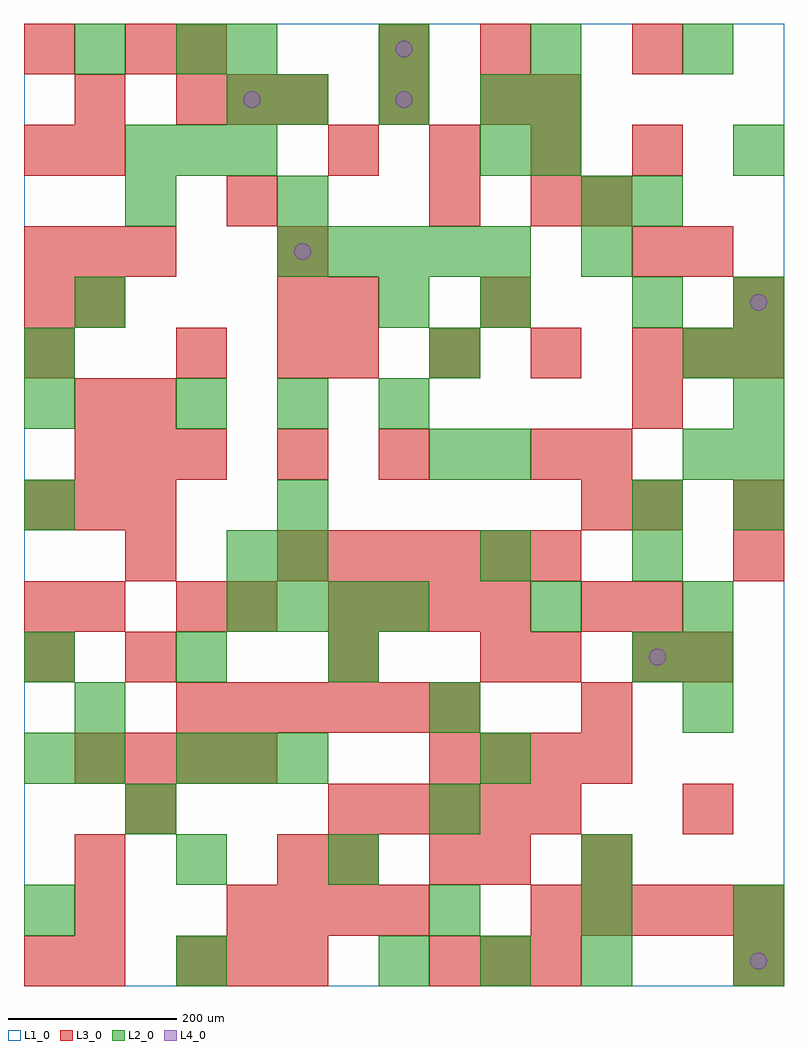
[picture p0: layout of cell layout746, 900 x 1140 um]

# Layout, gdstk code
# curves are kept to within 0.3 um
import gdstk
lib = gdstk.Library(unit=1e-6, precision=1e-09)
def R(c, l, rs):  # rectangles x0, y0, x1, y1
    for r in rs: c.add(gdstk.rectangle(r[:2], r[2:], *l))
def A(c, l, x, y, w, h, nx, ny, dx, dy):  # array of equal rectangles
    R(c, l, [(x+i*dx, y+j*dy, x+i*dx+w, y+j*dy+h) for i in range(nx) for j in range(ny)])
def P(c, l, *ps):  # polygons
    for p in ps: c.add(gdstk.Polygon(p, *l))
L1_0 = (1, 0)
L2_0 = (2, 0)
L3_0 = (3, 0)
L4_0 = (4, 0)

layout746 = lib.new_cell('layout746')
R(layout746, L1_0, [(0,0,900,1140)])
A(layout746, L2_0, 420, 0, 60, 60, 3, 1, 120, 0)
A(layout746, L2_0, 480, 60, 60, 60, 3, 1, 180, 0)
A(layout746, L2_0, 180, 240, 60, 60, 3, 1, 60, 0)
A(layout746, L2_0, 780, 300, 60, 60, 1, 3, 0, 60)
A(layout746, L2_0, 0, 360, 60, 60, 3, 1, 180, 0)
A(layout746, L2_0, 240, 420, 60, 60, 4, 1, 60, 0)
A(layout746, L2_0, 840, 540, 60, 60, 1, 5, 0, 60)
A(layout746, L2_0, 540, 600, 60, 60, 1, 3, 0, 180)
A(layout746, L2_0, 180, 660, 60, 60, 3, 1, 120, 0)
A(layout746, L2_0, 300, 840, 60, 60, 5, 1, 60, 0)
A(layout746, L2_0, 120, 960, 60, 60, 3, 1, 60, 0)
A(layout746, L2_0, 300, 1020, 60, 60, 3, 1, 120, 0)
A(layout746, L2_0, 240, 1080, 60, 60, 4, 1, 180, 0)
R(layout746, L2_0, [(180,0,240,60), (840,0,900,60), (0,60,60,120), (180,120,240,180), (360,120,420,180), (660,120,720,180), (120,180,180,240), (480,180,540,240), (0,240,60,300), (60,240,120,300), (540,240,600,300), (60,300,120,360), (480,300,540,360), (720,360,780,420), (600,420,660,480), (240,480,300,540), (300,480,360,540), (540,480,600,540), (720,480,780,540), (0,540,60,600), (300,540,360,600), (720,540,780,600), (480,600,540,660), (780,600,840,660), (0,660,60,720), (0,720,60,780), (480,720,540,780), (780,720,840,780), (60,780,120,840), (420,780,480,840), (720,780,780,840), (660,840,720,900), (120,900,180,960), (300,900,360,960), (660,900,720,960), (720,900,780,960), (600,960,660,1020), (840,960,900,1020), (240,1020,300,1080), (600,1020,660,1080), (60,1080,120,1140), (180,1080,240,1140)])
A(layout746, L3_0, 60, 0, 60, 60, 1, 3, 0, 60)
A(layout746, L3_0, 180, 0, 60, 60, 3, 2, 60, 1020)
A(layout746, L3_0, 480, 0, 60, 60, 3, 1, 60, 0)
A(layout746, L3_0, 240, 60, 60, 60, 4, 1, 60, 0)
A(layout746, L3_0, 600, 60, 60, 60, 5, 1, 60, 0)
A(layout746, L3_0, 360, 180, 60, 60, 5, 1, 60, 0)
A(layout746, L3_0, 60, 240, 60, 60, 4, 1, 60, 0)
A(layout746, L3_0, 480, 240, 60, 60, 4, 1, 60, 0)
A(layout746, L3_0, 180, 300, 60, 60, 6, 1, 60, 0)
A(layout746, L3_0, 660, 300, 60, 60, 1, 3, 0, 120)
A(layout746, L3_0, 360, 420, 60, 60, 4, 1, 60, 0)
A(layout746, L3_0, 720, 420, 60, 60, 1, 3, 0, 120)
A(layout746, L3_0, 300, 480, 60, 60, 6, 1, 60, 0)
A(layout746, L3_0, 0, 540, 60, 60, 3, 2, 60, 300)
A(layout746, L3_0, 60, 600, 60, 60, 3, 1, 60, 0)
A(layout746, L3_0, 300, 720, 60, 60, 1, 3, 0, 60)
A(layout746, L3_0, 360, 720, 60, 60, 4, 2, 120, 240)
R(layout746, L3_0, [(0,0,60,60), (840,0,900,60), (300,120,360,180), (360,120,420,180), (480,120,540,180), (540,120,600,180), (660,120,720,180), (120,180,180,240), (780,180,840,240), (0,360,60,420), (120,360,180,420), (360,360,420,420), (540,360,600,420), (600,360,660,420), (720,360,780,420), (780,360,840,420), (0,420,60,480), (60,420,120,480), (180,420,240,480), (240,420,300,480), (120,480,180,540), (840,480,900,540), (840,540,900,600), (300,600,360,660), (420,600,480,660), (600,600,660,660), (660,600,720,660), (60,660,120,720), (120,660,180,720), (0,720,60,780), (180,720,240,780), (780,720,840,780), (840,720,900,780), (0,780,60,840), (60,780,120,840), (360,780,420,840), (540,780,600,840), (840,780,900,840), (720,840,780,900), (780,840,840,900), (240,900,300,960), (480,900,540,960), (600,900,660,960), (660,900,720,960), (0,960,60,1020), (60,960,120,1020), (60,1020,120,1080), (420,1020,480,1080), (540,1020,600,1080), (600,1020,660,1080), (0,1080,60,1140), (120,1080,180,1140), (180,1080,240,1140), (420,1080,480,1140), (540,1080,600,1140), (720,1080,780,1140)])
P(layout746, L4_0, [(280,1050),(279.239,1053.827),(277.071,1057.071),(273.827,1059.239),(270,1060),(266.173,1059.239),(262.929,1057.071),(260.761,1053.827),(260,1050),(260.761,1046.173),(262.929,1042.929),(266.173,1040.761),(270,1040),(273.827,1040.761),(277.071,1042.929),(279.239,1046.173)],
  [(340,870),(339.239,873.827),(337.071,877.071),(333.827,879.239),(330,880),(326.173,879.239),(322.929,877.071),(320.761,873.827),(320,870),(320.761,866.173),(322.929,862.929),(326.173,860.761),(330,860),(333.827,860.761),(337.071,862.929),(339.239,866.173)],
  [(460,1050),(459.239,1053.827),(457.071,1057.071),(453.827,1059.239),(450,1060),(446.173,1059.239),(442.929,1057.071),(440.761,1053.827),(440,1050),(440.761,1046.173),(442.929,1042.929),(446.173,1040.761),(450,1040),(453.827,1040.761),(457.071,1042.929),(459.239,1046.173)],
  [(460,1110),(459.239,1113.827),(457.071,1117.071),(453.827,1119.239),(450,1120),(446.173,1119.239),(442.929,1117.071),(440.761,1113.827),(440,1110),(440.761,1106.173),(442.929,1102.929),(446.173,1100.761),(450,1100),(453.827,1100.761),(457.071,1102.929),(459.239,1106.173)],
  [(760,390),(759.239,393.827),(757.071,397.071),(753.827,399.239),(750,400),(746.173,399.239),(742.929,397.071),(740.761,393.827),(740,390),(740.761,386.173),(742.929,382.929),(746.173,380.761),(750,380),(753.827,380.761),(757.071,382.929),(759.239,386.173)],
  [(880,30),(879.239,33.827),(877.071,37.071),(873.827,39.239),(870,40),(866.173,39.239),(862.929,37.071),(860.761,33.827),(860,30),(860.761,26.173),(862.929,22.929),(866.173,20.761),(870,20),(873.827,20.761),(877.071,22.929),(879.239,26.173)],
  [(880,810),(879.239,813.827),(877.071,817.071),(873.827,819.239),(870,820),(866.173,819.239),(862.929,817.071),(860.761,813.827),(860,810),(860.761,806.173),(862.929,802.929),(866.173,800.761),(870,800),(873.827,800.761),(877.071,802.929),(879.239,806.173)])

lib.write_gds('layout746.gds')
